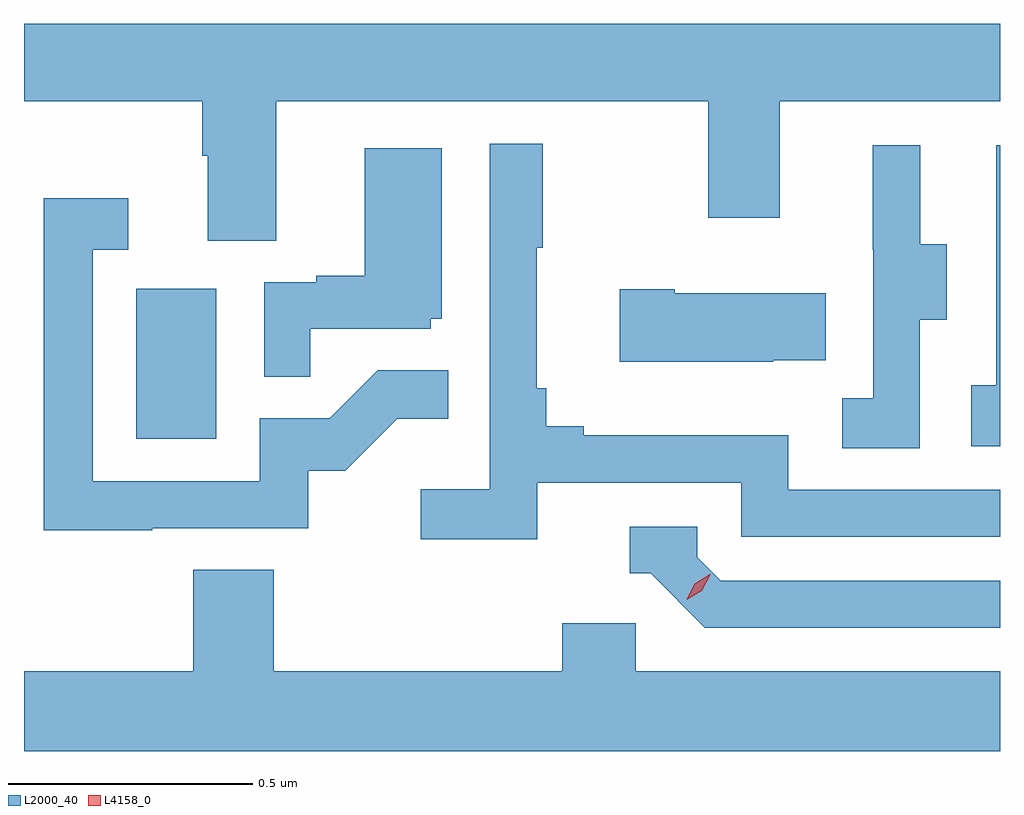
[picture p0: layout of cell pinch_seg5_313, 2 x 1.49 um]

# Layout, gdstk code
import gdstk
lib = gdstk.Library(unit=1e-6, precision=1e-09)
def R(c, l, rs):  # rectangles x0, y0, x1, y1
    for r in rs: c.add(gdstk.rectangle(r[:2], r[2:], *l))
def P(c, l, *ps):  # polygons
    for p in ps: c.add(gdstk.Polygon(p, *l))
L2000_40 = (2000, 40)
L4158_0 = (4158, 0)

pinch_seg5_313 = lib.new_cell('pinch_seg5_313')
R(pinch_seg5_313, L2000_40, [(912.35,874.716,912.514,875.023)])
P(pinch_seg5_313, L2000_40, [(912.637,875.408),(913.522,875.408),(913.522,875.169),(913.669,875.169),(913.669,875.408),(914.12,875.408),(914.12,875.566),(912.12,875.566),(912.12,875.408),(912.485,875.408),(912.485,875.296),(912.497,875.296),(912.497,875.122),(912.637,875.122)],
  [(913.172,874.626),(913.59,874.626),(913.59,874.515),(914.12,874.515),(914.12,874.611),(913.686,874.611),(913.686,874.723),(913.267,874.723),(913.267,874.742),(913.19,874.742),(913.19,874.819),(913.171,874.819),(913.171,875.107),(913.183,875.107),(913.183,875.32),(913.074,875.32),(913.074,874.612),(912.933,874.612),(912.933,874.51),(913.172,874.51)],
  [(914.12,875.317),(914.112,875.317),(914.112,874.826),(914.061,874.826),(914.061,874.701),(914.12,874.701)],
  [(913.956,874.96),(914.011,874.96),(914.011,875.115),(913.957,875.115),(913.957,875.317),(913.859,875.317),(913.859,875.103),(913.86,875.103),(913.86,874.799),(913.797,874.799),(913.797,874.696),(913.956,874.696)],
  [(912.707,874.941),(912.954,874.941),(912.954,874.962),(912.976,874.962),(912.976,875.311),(912.818,875.311),(912.818,875.05),(912.719,875.05),(912.719,875.037),(912.612,875.037),(912.612,874.843),(912.707,874.843)],
  [(912.383,874.533),(912.702,874.533),(912.702,874.65),(912.778,874.65),(912.885,874.757),(912.989,874.757),(912.989,874.856),(912.845,874.856),(912.747,874.758),(912.603,874.758),(912.603,874.629),(912.261,874.629),(912.261,875.103),(912.334,875.103),(912.334,875.209),(912.16,875.209),(912.16,874.528),(912.383,874.528)],
  [(913.655,874.877),(913.763,874.877),(913.763,875.014),(913.453,875.014),(913.453,875.022),(913.341,875.022),(913.341,874.874),(913.655,874.874)],
  [(914.12,874.425),(913.548,874.425),(913.5,874.473),(913.5,874.536),(913.361,874.536),(913.361,874.44),(913.404,874.44),(913.515,874.329),(914.12,874.329)],
  [(914.12,874.24),(913.374,874.24),(913.374,874.338),(913.223,874.338),(913.223,874.24),(912.632,874.24),(912.632,874.448),(912.467,874.448),(912.467,874.24),(912.12,874.24),(912.12,874.076),(914.12,874.076)])
P(pinch_seg5_313, L4158_0, [(913.478,874.386),(913.478,874.387),(913.494,874.419),(913.525,874.438),(913.526,874.438),(913.526,874.437),(913.509,874.405),(913.478,874.386)])

lib.write_gds('pinch_seg5_313.gds')
